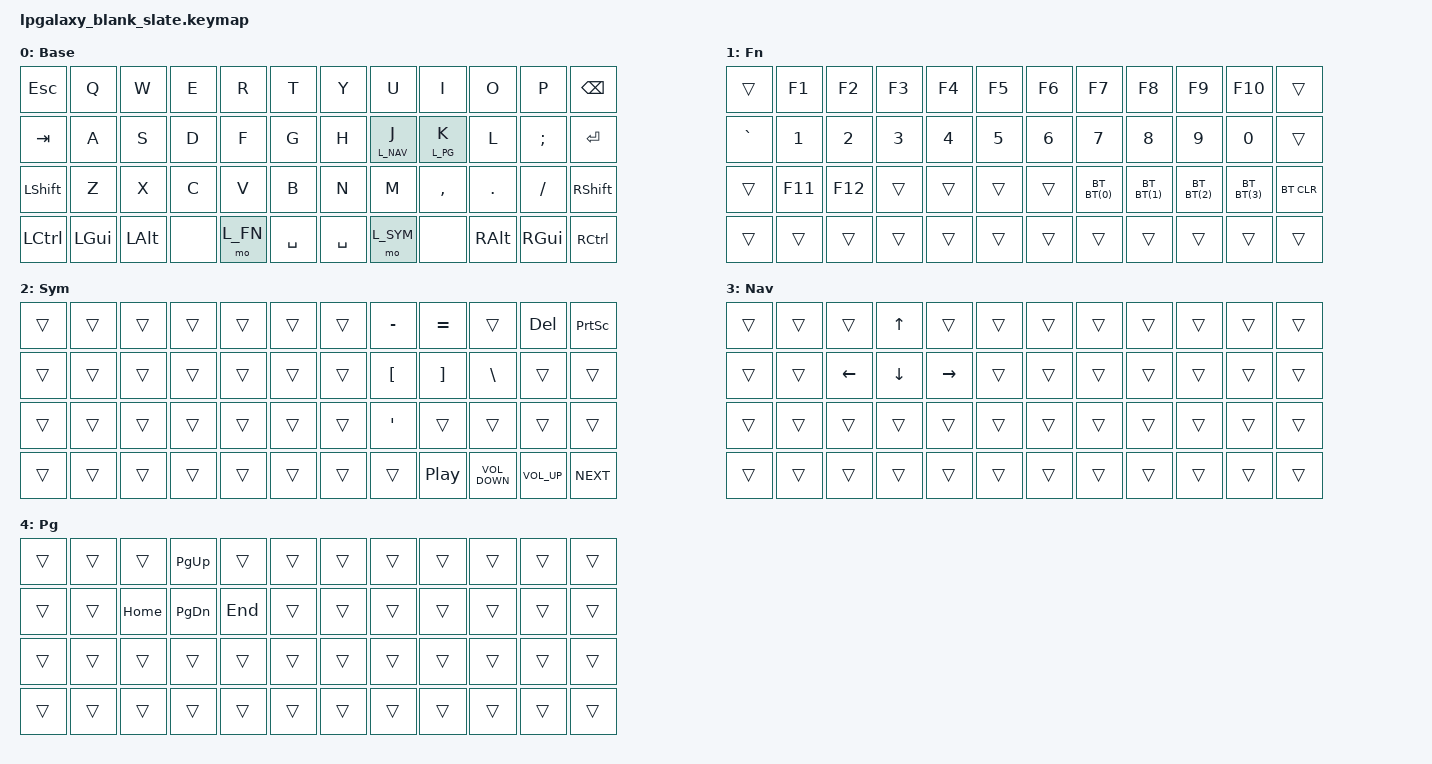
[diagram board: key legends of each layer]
/*
 * QMK → ZMK 1:1 conversion of toms_planck.json
 * with Bluetooth selection on Fn layer (M , . / positions)
 */

#include <behaviors.dtsi>
#include <dt-bindings/zmk/bt.h>
#include <dt-bindings/zmk/keys.h>

/* Layer-tap tuning */
&lt { quick_tap_ms = <200>; };

#define L_BASE 0
#define L_FN   1
#define L_SYM  2
#define L_NAV  3
#define L_PG   4

#define BT(n) BT_SEL n

/ {
    keymap {
        compatible = "zmk,keymap";

        /* ───────────── Base (0) ───────────── */
        base_layer {
            label = "Base";
            bindings = <
 &kp ESC   &kp Q   &kp W   &kp E   &kp R   &kp T   &kp Y   &kp U   &kp I   &kp O   &kp P   &kp BKSP
 &kp TAB   &kp A   &kp S   &kp D   &kp F   &kp G   &kp H   &lt L_NAV J   &lt L_PG K   &kp L   &kp SEMI &kp RET
 &kp LSHFT &kp Z   &kp X   &kp C   &kp V   &kp B   &kp N   &kp M   &kp COMMA &kp DOT &kp FSLH &kp RSHFT
 &kp LCTRL &kp LGUI &kp LALT &none &mo L_FN &kp SPACE &kp SPACE &mo L_SYM &none &kp RALT &kp RGUI &kp RCTRL
            >;
        };

        /* ───────────── Fn (1) ───────────── */
        fn_layer {
            label = "Fn";
            bindings = <
 &trans &kp F1  &kp F2  &kp F3  &kp F4  &kp F5  &kp F6  &kp F7  &kp F8  &kp F9  &kp F10 &trans
 &kp GRAVE &kp N1 &kp N2 &kp N3 &kp N4 &kp N5 &kp N6 &kp N7 &kp N8 &kp N9 &kp N0 &trans
 &trans &kp F11 &kp F12 &trans &trans &trans &trans &bt BT(0) &bt BT(1) &bt BT(2) &bt BT(3) &bt BT_CLR
 &trans &trans &trans &trans &trans &trans &trans &trans &trans &trans &trans &trans
            >;
        };

        /* ───────────── Symbols / Media (2) ───────────── */
        sym_layer {
            label = "Sym";
            bindings = <
 &trans &trans &trans &trans &trans &trans &trans &kp MINUS &kp EQUAL &trans &kp DEL &kp PSCRN
 &trans &trans &trans &trans &trans &trans &trans &kp LBKT &kp RBKT &kp BSLH &trans &trans
 &trans &trans &trans &trans &trans &trans &trans &kp QUOT &trans &trans &trans &trans
 &trans &trans &trans &trans &trans &trans &trans &trans &kp C_PLAY_PAUSE &kp C_VOLUME_DOWN &kp C_VOLUME_UP &kp C_NEXT
            >;
        };

        /* ───────────── Arrows (3) ───────────── */
        nav_layer {
            label = "Nav";
            bindings = <
 &trans &trans &trans &kp UP &trans &trans &trans &trans &trans &trans &trans &trans
 &trans &trans &kp LEFT &kp DOWN &kp RIGHT &trans &trans &trans &trans &trans &trans &trans
 &trans &trans &trans &trans &trans &trans &trans &trans &trans &trans &trans &trans
 &trans &trans &trans &trans &trans &trans &trans &trans &trans &trans &trans &trans
            >;
        };

        /* ───────────── Pg/Home/End (4) ───────────── */
        pg_layer {
            label = "Pg";
            bindings = <
 &trans &trans &trans &kp PG_UP &trans &trans &trans &trans &trans &trans &trans &trans
 &trans &trans &kp HOME &kp PG_DN &kp END &trans &trans &trans &trans &trans &trans &trans
 &trans &trans &trans &trans &trans &trans &trans &trans &trans &trans &trans &trans
 &trans &trans &trans &trans &trans &trans &trans &trans &trans &trans &trans &trans
            >;
        };
    };
};
